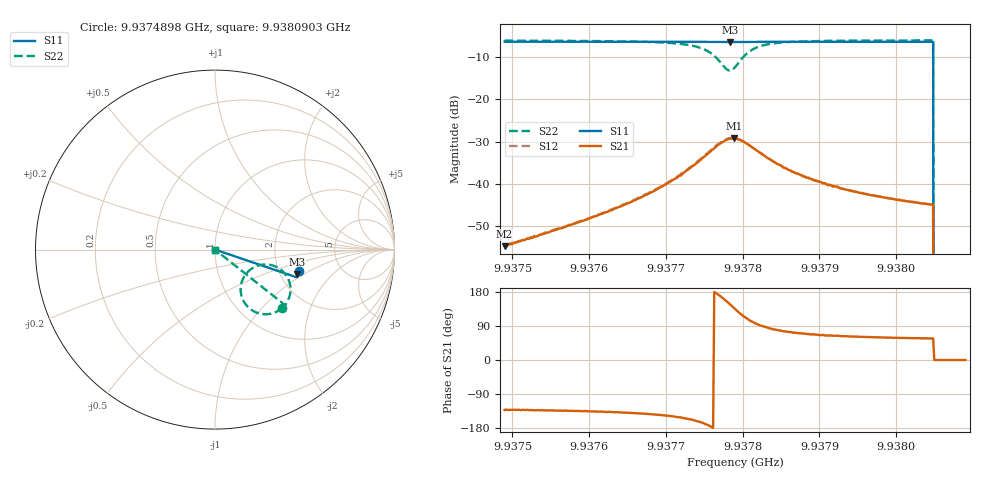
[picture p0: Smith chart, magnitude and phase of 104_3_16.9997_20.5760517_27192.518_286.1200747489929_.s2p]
#  HZ  S  RI  R  50.00
! Rohde & Schwarz Vector Network Analyzer
! Rohde-Schwarz,ZNB20-2Port,1311601062101988,3.16
! Created: UTC 3/20/2024, 10:56:46 PM
! freq[Hz]  re:S11  im:S11  re:S21  im:S21  re:S12  im:S12  re:S22  im:S22
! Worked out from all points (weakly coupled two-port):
!   401 points, 9.9374898 GHz to 9.9380903 GHz, reference 50 ohm
!   highest |S21| = -29.24 dB at 9.9377885 GHz (marker M1); lowest = -54.7 dB at 9.9374898 GHz (marker M2)
!   lowest |S11| = -6.4 dB at 9.937784 GHz (marker M3), VSWR 2.83, Z = 123 - j43.5 ohm
!   |S11| at or under -10 dB: 9.9380483 GHz to end of sweep
!   |S22| runs from - to -6.0 dB; largest |S21 - S12| = 0.0018
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9.93748982e9  0.4678 -0.1186  -0.00123 -0.00136  -0.00127 -0.00139  0.3745 -0.3251
9.93759039e9  0.4654 -0.1256  -0.00257 -0.00258  -0.00264 -0.00258  0.3573 -0.3378
9.93765194e9  0.464 -0.1298  -0.00453 -0.00388  -0.0047 -0.00391  0.3368 -0.3488
9.93769097e9  0.4627 -0.1326  -0.00728 -0.00513  -0.0075 -0.00514  0.3112 -0.3569
9.93771648e9  0.4617 -0.1344  -0.0108 -0.00593  -0.0111 -0.00596  0.2807 -0.36
9.93774801e9  0.4599 -0.1365  -0.0198 -0.00486  -0.0203 -0.00462  0.2081 -0.3389
9.93776002e9  0.459 -0.137  -0.0253 -0.00124  -0.0259 -0.000558  0.1685 -0.3017
9.93777053e9  0.4579 -0.137  -0.0294 0.00561  -0.0302 0.00677  0.1438 -0.2386
9.93777803e9  0.4575 -0.1365  -0.0303 0.013  -0.0305 0.0145  0.1498 -0.1779
9.93778404e9  0.4575 -0.1362  -0.0285 0.0192  -0.0282 0.0209  0.1765 -0.131
9.93778854e9  0.4576 -0.1359  -0.0253 0.0234  -0.0248 0.0249  0.2078 -0.104
9.93779004e9  0.4578 -0.1358  -0.0242 0.0244  -0.0234 0.026  0.2194 -0.0972
9.93779755e9  0.4583 -0.1358  -0.0171 0.0281  -0.016 0.0289  0.2811 -0.0826
9.93780655e9  0.4589 -0.1362  -0.00916 0.0281  -0.00807 0.0285  0.3425 -0.0964
9.93782156e9  0.4597 -0.1375  -0.000968 0.0238  -0.00031 0.0237  0.3975 -0.1444
9.93785459e9  0.4595 -0.1404  0.00383 0.015  0.0042 0.015  0.4209 -0.2206
9.93789062e9  0.459 -0.1433  0.00439 0.0106  0.00451 0.0103  0.4158 -0.259
9.93792964e9  0.458 -0.1462  0.004 0.00783  0.00417 0.00782  0.4078 -0.2807
9.93799119e9  0.4563 -0.1503  0.00348 0.00578  0.00357 0.00576  0.3978 -0.2991
9.93804523e9  0.4551 -0.154  0.00313 0.00476  0.00324 0.00475  0.3911 -0.3089
9.93805274e9  0 0  0 0  0 0  0 0
9.93809026e9  0 0  0 0  0 0  0 0
